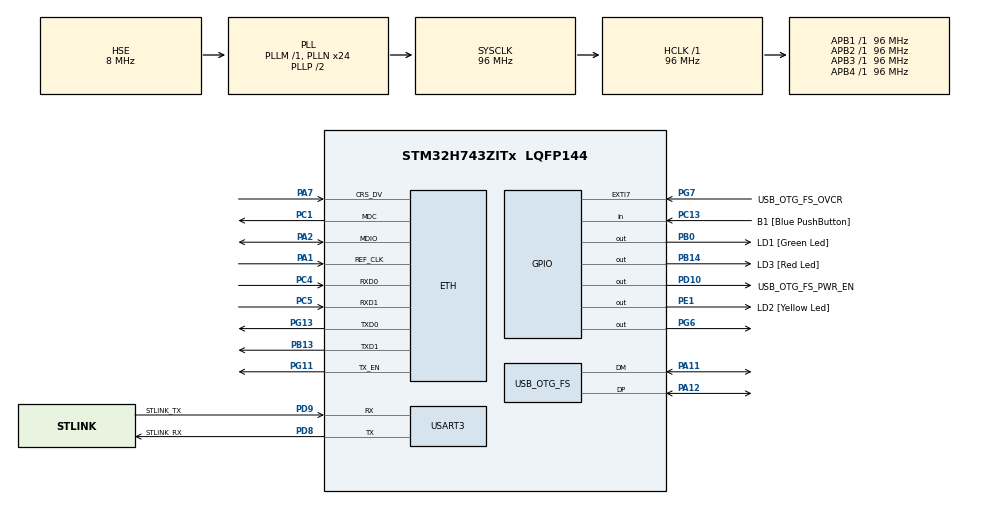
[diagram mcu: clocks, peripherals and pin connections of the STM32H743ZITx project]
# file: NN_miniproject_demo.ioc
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CORTEX_M7.CPU_DCache=Enabled
CORTEX_M7.CPU_ICache=Enabled
ETH.MediaInterface=HAL_ETH_RMII_MODE
Mcu.Family=STM32H7
Mcu.Name=STM32H743ZITx
Mcu.Package=LQFP144
NVIC.OTG_FS_IRQn=true\:0\:0\:false\:false\:true\:true\:true
NVIC.PriorityGroup=NVIC_PRIORITYGROUP_4
PA1.Mode=RMII
PA1.Signal=ETH_REF_CLK
PA11.GPIO_Speed=GPIO_SPEED_FREQ_VERY_HIGH
PA11.Mode=Host_Only
PA11.Signal=USB_OTG_FS_DM
PA12.GPIO_Speed=GPIO_SPEED_FREQ_VERY_HIGH
PA12.Mode=Host_Only
PA12.Signal=USB_OTG_FS_DP
PA2.Mode=RMII
PA2.Signal=ETH_MDIO
PA7.Mode=RMII
PA7.Signal=ETH_CRS_DV
PA8.Signal=USB_OTG_FS_SOF
PA9.Signal=USB_OTG_FS_VBUS
PB0.GPIO_Label=LD1 [Green Led]
PB0.Signal=GPIO_Output
PB13.Mode=RMII
PB13.Signal=ETH_TXD1
PB14.GPIO_Label=LD3 [Red Led]
PB14.Signal=GPIO_Output
PC1.Mode=RMII
PC1.Signal=ETH_MDC
PC13.GPIO_Label=B1 [Blue PushButton]
PC13.Signal=GPIO_Input
PC14-OSC32_IN\ (OSC32_IN).Mode=LSE-External-Oscillator
PC14-OSC32_IN\ (OSC32_IN).Signal=RCC_OSC32_IN
PC15-OSC32_OUT\ (OSC32_OUT).Mode=LSE-External-Oscillator
PC15-OSC32_OUT\ (OSC32_OUT).Signal=RCC_OSC32_OUT
PC4.Mode=RMII
PC4.Signal=ETH_RXD0
PC5.Mode=RMII
PC5.Signal=ETH_RXD1
PD10.GPIO_Label=USB_OTG_FS_PWR_EN
PD10.Signal=GPIO_Output
PD8.GPIO_Label=STLINK_RX
PD8.Mode=Asynchronous
PD8.Signal=USART3_TX
PD9.GPIO_Label=STLINK_TX
PD9.Mode=Asynchronous
PD9.Signal=USART3_RX
PE1.GPIO_Label=LD2 [Yellow Led]
PE1.Signal=GPIO_Output
PG11.Mode=RMII
PG11.Signal=ETH_TX_EN
PG13.Mode=RMII
PG13.Signal=ETH_TXD0
PG6.Signal=GPIO_Output
PG7.GPIO_Label=USB_OTG_FS_OVCR
PG7.Signal=GPXTI7
PH0-OSC_IN\ (PH0).Mode=HSE-External-Clock-Source
PH0-OSC_IN\ (PH0).Signal=RCC_OSC_IN
PH1-OSC_OUT\ (PH1).Signal=RCC_OSC_OUT
ProjectManager.HeapSize=0x4000
ProjectManager.StackSize=0x4000
ProjectManager.TargetToolchain=STM32CubeIDE
RCC.ADCFreq_Value=16125000
RCC.APB1Freq_Value=96000000
RCC.APB2Freq_Value=96000000
RCC.APB3Freq_Value=96000000
RCC.APB4Freq_Value=96000000
RCC.CortexFreq_Value=96000000
RCC.DIVM1=1
RCC.DIVN1=24
RCC.DIVQ1=4
RCC.HCLKFreq_Value=96000000
RCC.HSE_VALUE=8000000
RCC.PLLFRACN=0
RCC.SYSCLKFreq_VALUE=96000000
RCC.SYSCLKSource=RCC_SYSCLKSOURCE_PLLCLK
RCC.USBFreq_Value=48000000
STMicroelectronics.X-CUBE-AI.5.2.0.ActivationBufferSizeList=136,1464960
STMicroelectronics.X-CUBE-AI.5.2.0.HeapSize=0x4000
STMicroelectronics.X-CUBE-AI.5.2.0.InternalRamActivationBufferMaxSize=AI_NETWORK_7_DATA_ACTIVATIONS_SIZE
STMicroelectronics.X-CUBE-AI.5.2.0.LatestDirectoryUsed-79158952da0bd2d1f63a705455d0a82f03b922d819930969006c187b575319ec=D\:\\Desktop\\EE113DB\\H7 Code
STMicroelectronics.X-CUBE-AI.5.2.0.LatestDirectoryUsed-7d13c56af21f2549491f0dfde9505e7fa9c9f8013ecf3f9c0d253335a3d5dc23=D\:\\Desktop\\EE113DB\\Custom Model
STMicroelectronics.X-CUBE-AI.5.2.0.MaximumNumberOfInputLayer=1
STMicroelectronics.X-CUBE-AI.5.2.0.MaximumNumberOfOutputLayer=1
STMicroelectronics.X-CUBE-AI.5.2.0.MaximumSizeOfInputLayer=AI_NETWORK_7_IN_1_SIZE_BYTES
STMicroelectronics.X-CUBE-AI.5.2.0.MaximumSizeOfOutputLayer=AI_NETWORK_7_OUT_1_SIZE_BYTES
STMicroelectronics.X-CUBE-AI.5.2.0.ModelActualCompression-79158952da0bd2d1f63a705455d0a82f03b922d819930969006c187b575319ec=0.0
STMicroelectronics.X-CUBE-AI.5.2.0.ModelActualCompression-7d13c56af21f2549491f0dfde9505e7fa9c9f8013ecf3f9c0d253335a3d5dc23=0.0
STMicroelectronics.X-CUBE-AI.5.2.0.ModelCompression-79158952da0bd2d1f63a705455d0a82f03b922d819930969006c187b575319ec=1
STMicroelectronics.X-CUBE-AI.5.2.0.ModelCompression-7d13c56af21f2549491f0dfde9505e7fa9c9f8013ecf3f9c0d253335a3d5dc23=1
STMicroelectronics.X-CUBE-AI.5.2.0.ModelFlashOccupation-79158952da0bd2d1f63a705455d0a82f03b922d819930969006c187b575319ec=1284
STMicroelectronics.X-CUBE-AI.5.2.0.ModelFlashOccupation-7d13c56af21f2549491f0dfde9505e7fa9c9f8013ecf3f9c0d253335a3d5dc23=315128
STMicroelectronics.X-CUBE-AI.5.2.0.ModelHashList=79158952da0bd2d1f63a705455d0a82f03b922d819930969006c187b575319ec;7d13c56af21f2549491f0dfde9505e7fa9c9f8013ecf3f9c0d253335a3d5dc23
STMicroelectronics.X-CUBE-AI.5.2.0.ModelKind-79158952da0bd2d1f63a705455d0a82f03b922d819930969006c187b575319ec=TFLITE
STMicroelectronics.X-CUBE-AI.5.2.0.ModelKind-7d13c56af21f2549491f0dfde9505e7fa9c9f8013ecf3f9c0d253335a3d5dc23=KERAS
STMicroelectronics.X-CUBE-AI.5.2.0.ModelMacc-79158952da0bd2d1f63a705455d0a82f03b922d819930969006c187b575319ec=320
STMicroelectronics.X-CUBE-AI.5.2.0.ModelMacc-7d13c56af21f2549491f0dfde9505e7fa9c9f8013ecf3f9c0d253335a3d5dc23=39062430
STMicroelectronics.X-CUBE-AI.5.2.0.ModelName-79158952da0bd2d1f63a705455d0a82f03b922d819930969006c187b575319ec=sine_model
STMicroelectronics.X-CUBE-AI.5.2.0.ModelName-7d13c56af21f2549491f0dfde9505e7fa9c9f8013ecf3f9c0d253335a3d5dc23=network_7
STMicroelectronics.X-CUBE-AI.5.2.0.ModelNameList=sine_model,network_7
STMicroelectronics.X-CUBE-AI.5.2.0.ModelRamOccupation-79158952da0bd2d1f63a705455d0a82f03b922d819930969006c187b575319ec=136
STMicroelectronics.X-CUBE-AI.5.2.0.ModelRamOccupation-7d13c56af21f2549491f0dfde9505e7fa9c9f8013ecf3f9c0d253335a3d5dc23=1464960
STMicroelectronics.X-CUBE-AI.5.2.0.ModelStructureFile-79158952da0bd2d1f63a705455d0a82f03b922d819930969006c187b575319ec=D\:\\Desktop\\EE113DB\\H7 Code\\sine_model.tflite
STMicroelectronics.X-CUBE-AI.5.2.0.ModelStructureFile-7d13c56af21f2549491f0dfde9505e7fa9c9f8013ecf3f9c0d253335a3d5dc23=D\:\\Desktop\\EE113DB\\Custom Model\\yolo-fastestCAR200.h5
STMicroelectronics.X-CUBE-AI.5.2.0.ModelType-79158952da0bd2d1f63a705455d0a82f03b922d819930969006c187b575319ec=Saved model
STMicroelectronics.X-CUBE-AI.5.2.0.ModelType-7d13c56af21f2549491f0dfde9505e7fa9c9f8013ecf3f9c0d253335a3d5dc23=Saved model
STMicroelectronics.X-CUBE-AI.5.2.0.StackSize=0x4000
STMicroelectronics.X-CUBE-AI.5.2.0.WorkingBufferStartAddrList=0xFFFFFFFF,0xFFFFFFFF
STMicroelectronics.X-CUBE-AI.5.2.0.XAaCUBEAaAICcArtificialOoIntelligenceJjCore=true
TIM16.Prescaler=96-1
USART3.VirtualMode-Asynchronous=VM_ASYNC
USB_HOST.BSP.number=1
USB_HOST.USBH_HandleTypeDef-MSC_FS=hUsbHostFS
USB_HOST.VirtualModeFS=Msc
USB_HOST0.BSP.STBoard=false
USB_HOST0.BSP.api=Unknown
USB_HOST0.BSP.i2caddr=0
USB_HOST0.BSP.instance=PG6
USB_HOST0.BSP.ip=GPIO
USB_HOST0.BSP.mode=Output
USB_HOST0.BSP.name=Drive_VBUS_FS
USB_HOST0.BSP.solution=PG6
USB_OTG_FS.VirtualMode=Host_Only
USB_OTG_FS.phy_itface=HCD_PHY_EMBEDDED
VP_CRC_VS_CRC.Mode=CRC_Activate
VP_FATFS_VS_USB.Mode=USB
VP_STMicroelectronics.X-CUBE-AI_VS_ArtificialOoIntelligenceJjXAaCUBEAaAI_5.2.0.Mode=ArtificialOoIntelligenceJjXAaCUBEAaAI
VP_TIM16_VS_ClockSourceINT.Mode=Enable_Timer
VP_USB_HOST_VS_USB_HOST_MSC_FS.Mode=MSC_FS
board=NUCLEO-H743ZI2

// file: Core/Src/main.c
/* USER CODE BEGIN Header */
/**
  ******************************************************************************
  * @file           : main.c
  * @brief          : Main program body
  ******************************************************************************
  * @attention
  *
  * <h2><center>&copy; Copyright (c) 2020 STMicroelectronics.
  * All rights reserved.</center></h2>
  *
  * This software component is licensed by ST under BSD 3-Clause license,
  * the "License"; You may not use this file except in compliance with the
  * License. You may obtain a copy of the License at:
  *                        opensource.org/licenses/BSD-3-Clause
  *
  ******************************************************************************
  */
/* USER CODE END Header */
#include "main.h"
#include "string.h"
#include "fatfs.h"
#include "usb_host.h"

/* USER CODE BEGIN Includes */
#include <stdio.h>

#include "ai_datatypes_defines.h"
#include "ai_platform.h"
#include "sine_model.h"
#include "sine_model_data.h"
/* USER CODE END Includes */

#if defined ( __ICCARM__ ) /*!< IAR Compiler */

#pragma location=0x30040000
ETH_DMADescTypeDef  DMARxDscrTab[ETH_RX_DESC_CNT]; /* Ethernet Rx DMA Descriptors */
#pragma location=0x30040060
ETH_DMADescTypeDef  DMATxDscrTab[ETH_TX_DESC_CNT]; /* Ethernet Tx DMA Descriptors */
#pragma location=0x30040200
uint8_t Rx_Buff[ETH_RX_DESC_CNT][ETH_MAX_PACKET_SIZE]; /* Ethernet Receive Buffers */

#elif defined ( __CC_ARM )  /* MDK ARM Compiler */

__attribute__((at(0x30040000))) ETH_DMADescTypeDef  DMARxDscrTab[ETH_RX_DESC_CNT]; /* Ethernet Rx DMA Descriptors */
__attribute__((at(0x30040060))) ETH_DMADescTypeDef  DMATxDscrTab[ETH_TX_DESC_CNT]; /* Ethernet Tx DMA Descriptors */
__attribute__((at(0x30040200))) uint8_t Rx_Buff[ETH_RX_DESC_CNT][ETH_MAX_PACKET_SIZE]; /* Ethernet Receive Buffer */

#elif defined ( __GNUC__ ) /* GNU Compiler */

ETH_DMADescTypeDef DMARxDscrTab[ETH_RX_DESC_CNT] __attribute__((section(".RxDecripSection"))); /* Ethernet Rx DMA Descriptors */
ETH_DMADescTypeDef DMATxDscrTab[ETH_TX_DESC_CNT] __attribute__((section(".TxDecripSection")));   /* Ethernet Tx DMA Descriptors */
uint8_t Rx_Buff[ETH_RX_DESC_CNT][ETH_MAX_PACKET_SIZE] __attribute__((section(".RxArraySection"))); /* Ethernet Receive Buffers */

#endif

ETH_TxPacketConfig TxConfig;

CRC_HandleTypeDef hcrc;

ETH_HandleTypeDef heth;

TIM_HandleTypeDef htim16;

UART_HandleTypeDef huart3;

void SystemClock_Config(void);
static void MX_GPIO_Init(void);
static void MX_ETH_Init(void);
static void MX_USART3_UART_Init(void);
static void MX_CRC_Init(void);
static void MX_TIM16_Init(void);
void MX_USB_HOST_Process(void);

/* USER CODE BEGIN 0 */
int file_ready = 0;
extern uint8_t rtext[128];
extern uint8_t name[20];

// TODO - As per Community Suggestion, Statically allocated activations, input data, and output data

// float * out_img;
/* USER CODE END 0 */

int main(void)
{
  /* USER CODE BEGIN 1 */
  char buf[50];
  int buf_len = 0;
  ai_error ai_err;
  ai_i32 nbatch;
  uint32_t timestamp;
  float y_val;

  // Pointer to our model
  ai_handle sine_model = AI_HANDLE_NULL;

  // Chunk of memory used to hold intermediate values for neural network
  AI_ALIGNED(4) ai_u8 activations[AI_SINE_MODEL_DATA_ACTIVATIONS_SIZE];

  // Buffers used to store input and output tensors
  AI_ALIGNED(4) ai_i8 in_data[AI_SINE_MODEL_IN_1_SIZE_BYTES];
  AI_ALIGNED(4) ai_i8 out_data[AI_SINE_MODEL_OUT_1_SIZE_BYTES];

  // Initialize wrapper structs that hold pointers to data and info about the
  // data (tensor height, width, channels)
  ai_buffer ai_input[AI_SINE_MODEL_IN_NUM] = AI_SINE_MODEL_IN;
  ai_buffer ai_output[AI_SINE_MODEL_OUT_NUM] = AI_SINE_MODEL_OUT;

  // Set working memory and get weights/biases from model
  ai_network_params ai_params = {
	AI_SINE_MODEL_DATA_WEIGHTS(ai_sine_model_data_weights_get()),
	AI_SINE_MODEL_DATA_ACTIVATIONS(activations)
  };

  // Set pointers wrapper structs to our data buffers
  ai_input[0].n_batches = 1;
  ai_input[0].data = AI_HANDLE_PTR(in_data);
  ai_output[0].n_batches = 1;
  ai_output[0].data = AI_HANDLE_PTR(out_data);
  /* USER CODE END 1 */

  /* Enable I-Cache---------------------------------------------------------*/
  SCB_EnableICache();

  /* Enable D-Cache---------------------------------------------------------*/
  SCB_EnableDCache();

  /* MCU Configuration--------------------------------------------------------*/

  /* Reset of all peripherals, Initializes the Flash interface and the Systick. */
  HAL_Init();

  /* Configure the system clock */
  SystemClock_Config();

  /* Initialize all configured peripherals */
  MX_GPIO_Init();
  MX_ETH_Init();
  MX_USART3_UART_Init();
  MX_FATFS_Init();
  MX_USB_HOST_Init();
  MX_CRC_Init();
  MX_TIM16_Init();
  /* USER CODE BEGIN 2 */
  // Start timer/counter
  HAL_TIM_Base_Start(&htim16);

  // Greetings!
  buf_len = sprintf(buf, "\r\n\r\nSTM32 X-Cube-AI test\r\n");
  printf(buf);

  // Create instance of neural network
  ai_err = ai_sine_model_create(&sine_model, AI_SINE_MODEL_DATA_CONFIG);
  if (ai_err.type != AI_ERROR_NONE)
  {
    buf_len = sprintf(buf, "Error: could not create NN instance\r\n");
    printf(buf);
    while(1);
  }

  // Initialize neural network
  if (!ai_sine_model_init(sine_model, &ai_params))
  {
    buf_len = sprintf(buf, "Error: could not initialize NN\r\n");
    printf(buf);
    while(1);
  }

  /* USER CODE END 2 */

  /* Infinite loop */
  /* USER CODE BEGIN WHILE */
  int first_while_iter = 1;
  while (1)
  {
	if (first_while_iter)
	{
	  sprintf(buf, "Mounting USB...\r\n");
	  printf(buf);
	  while(1)
	  {
	    MX_USB_HOST_Process();
		sprintf(name,"num5.bmp");
	    file_ready = 0;
	    read_bmp(name);
	    if(file_ready == 1){
//			out_img = ProcessBmp(rtext);
		    break;
	    }

	  }
	  sprintf(buf, "USB Mounted Successfully\r\n");
	  printf(buf);
	  first_while_iter = 0;
	}

    sprintf(name,"b1.txt");
    float * b1 = read_txt(name, 2);
    printf("%.2f ", b1[0]);
    printf("%.2f\n", b1[1]);
    free(b1);

//    // Unmount the USB
//    if (f_mount(NULL,USBHPath,0) != FR_OK)
//    {
//  	  Error_Handler();
//    }

	// Fill input buffer (use test value)
	for (uint32_t i = 0; i < AI_SINE_MODEL_IN_1_SIZE; i++)
	{
	  ((ai_float *)in_data)[i] = (ai_float)2.0f;
	}

	// Get current timestamp
	timestamp = htim16.Instance->CNT;

	// Perform inference
	nbatch = ai_sine_model_run(sine_model, &ai_input[0], &ai_output[0]);
	if (nbatch != 1) {
	  buf_len = sprintf(buf, "Error: could not run inference\r\n");
	  printf(buf);
	}

	// Read output (predicted y) of neural network
	y_val = ((float *)out_data)[0];

	// Print output of neural network along with inference time (microseconds)
	buf_len = sprintf(buf,
					  "Output: %f | Duration: %lu\r\n",
					  y_val,
					  htim16.Instance->CNT - timestamp);
	printf(buf);

	// Wait before doing it again
	HAL_Delay(1000);
    /* USER CODE END WHILE */
    MX_USB_HOST_Process();

  }
}

void SystemClock_Config(void)
{
  RCC_OscInitTypeDef RCC_OscInitStruct = {0};
  RCC_ClkInitTypeDef RCC_ClkInitStruct = {0};
  RCC_PeriphCLKInitTypeDef PeriphClkInitStruct = {0};

  /** Supply configuration update enable
  */
  HAL_PWREx_ConfigSupply(PWR_LDO_SUPPLY);
  /** Configure the main internal regulator output voltage
  */
  __HAL_PWR_VOLTAGESCALING_CONFIG(PWR_REGULATOR_VOLTAGE_SCALE3);

  while(!__HAL_PWR_GET_FLAG(PWR_FLAG_VOSRDY)) {}
  /** Initializes the RCC Oscillators according to the specified parameters
  * in the RCC_OscInitTypeDef structure.
  */
  RCC_OscInitStruct.OscillatorType = RCC_OSCILLATORTYPE_HSE;
  RCC_OscInitStruct.HSEState = RCC_HSE_BYPASS;
  RCC_OscInitStruct.PLL.PLLState = RCC_PLL_ON;
  RCC_OscInitStruct.PLL.PLLSource = RCC_PLLSOURCE_HSE;
  RCC_OscInitStruct.PLL.PLLM = 1;
  RCC_OscInitStruct.PLL.PLLN = 24;
  RCC_OscInitStruct.PLL.PLLP = 2;
  RCC_OscInitStruct.PLL.PLLQ = 4;
  RCC_OscInitStruct.PLL.PLLR = 2;
  RCC_OscInitStruct.PLL.PLLRGE = RCC_PLL1VCIRANGE_3;
  RCC_OscInitStruct.PLL.PLLVCOSEL = RCC_PLL1VCOWIDE;
  RCC_OscInitStruct.PLL.PLLFRACN = 0;
  if (HAL_RCC_OscConfig(&RCC_OscInitStruct) != HAL_OK)
  {
    Error_Handler();
  }
  /** Initializes the CPU, AHB and APB buses clocks
  */
  RCC_ClkInitStruct.ClockType = RCC_CLOCKTYPE_HCLK|RCC_CLOCKTYPE_SYSCLK
                              |RCC_CLOCKTYPE_PCLK1|RCC_CLOCKTYPE_PCLK2
                              |RCC_CLOCKTYPE_D3PCLK1|RCC_CLOCKTYPE_D1PCLK1;
  RCC_ClkInitStruct.SYSCLKSource = RCC_SYSCLKSOURCE_PLLCLK;
  RCC_ClkInitStruct.SYSCLKDivider = RCC_SYSCLK_DIV1;
  RCC_ClkInitStruct.AHBCLKDivider = RCC_HCLK_DIV1;
  RCC_ClkInitStruct.APB3CLKDivider = RCC_APB3_DIV1;
  RCC_ClkInitStruct.APB1CLKDivider = RCC_APB1_DIV1;
  RCC_ClkInitStruct.APB2CLKDivider = RCC_APB2_DIV1;
  RCC_ClkInitStruct.APB4CLKDivider = RCC_APB4_DIV1;

  if (HAL_RCC_ClockConfig(&RCC_ClkInitStruct, FLASH_LATENCY_1) != HAL_OK)
  {
    Error_Handler();
  }
  PeriphClkInitStruct.PeriphClockSelection = RCC_PERIPHCLK_USART3|RCC_PERIPHCLK_USB;
  PeriphClkInitStruct.Usart234578ClockSelection = RCC_USART234578CLKSOURCE_D2PCLK1;
  PeriphClkInitStruct.UsbClockSelection = RCC_USBCLKSOURCE_PLL;
  if (HAL_RCCEx_PeriphCLKConfig(&PeriphClkInitStruct) != HAL_OK)
  {
    Error_Handler();
  }
  /** Enable USB Voltage detector
  */
  HAL_PWREx_EnableUSBVoltageDetector();
}

static void MX_CRC_Init(void)
{

  hcrc.Instance = CRC;
  hcrc.Init.DefaultPolynomialUse = DEFAULT_POLYNOMIAL_ENABLE;
  hcrc.Init.DefaultInitValueUse = DEFAULT_INIT_VALUE_ENABLE;
  hcrc.Init.InputDataInversionMode = CRC_INPUTDATA_INVERSION_NONE;
  hcrc.Init.OutputDataInversionMode = CRC_OUTPUTDATA_INVERSION_DISABLE;
  hcrc.InputDataFormat = CRC_INPUTDATA_FORMAT_BYTES;
  if (HAL_CRC_Init(&hcrc) != HAL_OK)
  {
    Error_Handler();
  }

}

static void MX_ETH_Init(void)
{

  heth.Instance = ETH;
  heth.Init.MACAddr[0] =   0x00;
  heth.Init.MACAddr[1] =   0x80;
  heth.Init.MACAddr[2] =   0xE1;
  heth.Init.MACAddr[3] =   0x00;
  heth.Init.MACAddr[4] =   0x00;
  heth.Init.MACAddr[5] =   0x00;
  heth.Init.MediaInterface = HAL_ETH_RMII_MODE;
  heth.Init.TxDesc = DMATxDscrTab;
  heth.Init.RxDesc = DMARxDscrTab;
  heth.Init.RxBuffLen = 1524;

  if (HAL_ETH_Init(&heth) != HAL_OK)
  {
    Error_Handler();
  }

  memset(&TxConfig, 0 , sizeof(ETH_TxPacketConfig));
  TxConfig.Attributes = ETH_TX_PACKETS_FEATURES_CSUM | ETH_TX_PACKETS_FEATURES_CRCPAD;
  TxConfig.ChecksumCtrl = ETH_CHECKSUM_IPHDR_PAYLOAD_INSERT_PHDR_CALC;
  TxConfig.CRCPadCtrl = ETH_CRC_PAD_INSERT;

}

static void MX_TIM16_Init(void)
{

  htim16.Instance = TIM16;
  htim16.Init.Prescaler = 96-1;
  htim16.Init.CounterMode = TIM_COUNTERMODE_UP;
  htim16.Init.Period = 65535;
  htim16.Init.ClockDivision = TIM_CLOCKDIVISION_DIV1;
  htim16.Init.RepetitionCounter = 0;
  htim16.Init.AutoReloadPreload = TIM_AUTORELOAD_PRELOAD_DISABLE;
  if (HAL_TIM_Base_Init(&htim16) != HAL_OK)
  {
    Error_Handler();
  }

}

static void MX_USART3_UART_Init(void)
{

  huart3.Instance = USART3;
  huart3.Init.BaudRate = 115200;
  huart3.Init.WordLength = UART_WORDLENGTH_8B;
  huart3.Init.StopBits = UART_STOPBITS_1;
  huart3.Init.Parity = UART_PARITY_NONE;
  huart3.Init.Mode = UART_MODE_TX_RX;
  huart3.Init.HwFlowCtl = UART_HWCONTROL_NONE;
  huart3.Init.OverSampling = UART_OVERSAMPLING_16;
  huart3.Init.OneBitSampling = UART_ONE_BIT_SAMPLE_DISABLE;
  huart3.Init.ClockPrescaler = UART_PRESCALER_DIV1;
  huart3.AdvancedInit.AdvFeatureInit = UART_ADVFEATURE_NO_INIT;
  if (HAL_UART_Init(&huart3) != HAL_OK)
  {
    Error_Handler();
  }
  if (HAL_UARTEx_SetTxFifoThreshold(&huart3, UART_TXFIFO_THRESHOLD_1_8) != HAL_OK)
  {
    Error_Handler();
  }
  if (HAL_UARTEx_SetRxFifoThreshold(&huart3, UART_RXFIFO_THRESHOLD_1_8) != HAL_OK)
  {
    Error_Handler();
  }
  if (HAL_UARTEx_DisableFifoMode(&huart3) != HAL_OK)
  {
    Error_Handler();
  }

}

static void MX_GPIO_Init(void)
{
  GPIO_InitTypeDef GPIO_InitStruct = {0};

  /* GPIO Ports Clock Enable */
  __HAL_RCC_GPIOC_CLK_ENABLE();
  __HAL_RCC_GPIOH_CLK_ENABLE();
  __HAL_RCC_GPIOA_CLK_ENABLE();
  __HAL_RCC_GPIOB_CLK_ENABLE();
  __HAL_RCC_GPIOD_CLK_ENABLE();
  __HAL_RCC_GPIOG_CLK_ENABLE();
  __HAL_RCC_GPIOE_CLK_ENABLE();

  /*Configure GPIO pin Output Level */
  HAL_GPIO_WritePin(GPIOB, LD1_Pin|LD3_Pin, GPIO_PIN_RESET);

  /*Configure GPIO pin Output Level */
  HAL_GPIO_WritePin(USB_OTG_FS_PWR_EN_GPIO_Port, USB_OTG_FS_PWR_EN_Pin, GPIO_PIN_RESET);

  /*Configure GPIO pin Output Level */
  HAL_GPIO_WritePin(GPIOG, GPIO_PIN_6, GPIO_PIN_RESET);

  /*Configure GPIO pin Output Level */
  HAL_GPIO_WritePin(LD2_GPIO_Port, LD2_Pin, GPIO_PIN_RESET);

  /*Configure GPIO pin : B1_Pin */
  GPIO_InitStruct.Pin = B1_Pin;
  GPIO_InitStruct.Mode = GPIO_MODE_INPUT;
  GPIO_InitStruct.Pull = GPIO_NOPULL;
  HAL_GPIO_Init(B1_GPIO_Port, &GPIO_InitStruct);

  /*Configure GPIO pins : LD1_Pin LD3_Pin */
  GPIO_InitStruct.Pin = LD1_Pin|LD3_Pin;
  GPIO_InitStruct.Mode = GPIO_MODE_OUTPUT_PP;
  GPIO_InitStruct.Pull = GPIO_NOPULL;
  GPIO_InitStruct.Speed = GPIO_SPEED_FREQ_LOW;
  HAL_GPIO_Init(GPIOB, &GPIO_InitStruct);

  /*Configure GPIO pin : USB_OTG_FS_PWR_EN_Pin */
  GPIO_InitStruct.Pin = USB_OTG_FS_PWR_EN_Pin;
  GPIO_InitStruct.Mode = GPIO_MODE_OUTPUT_PP;
  GPIO_InitStruct.Pull = GPIO_NOPULL;
  GPIO_InitStruct.Speed = GPIO_SPEED_FREQ_LOW;
  HAL_GPIO_Init(USB_OTG_FS_PWR_EN_GPIO_Port, &GPIO_InitStruct);

  /*Configure GPIO pin : PG6 */
  GPIO_InitStruct.Pin = GPIO_PIN_6;
  GPIO_InitStruct.Mode = GPIO_MODE_OUTPUT_PP;
  GPIO_InitStruct.Pull = GPIO_NOPULL;
  GPIO_InitStruct.Speed = GPIO_SPEED_FREQ_LOW;
  HAL_GPIO_Init(GPIOG, &GPIO_InitStruct);

  /*Configure GPIO pin : USB_OTG_FS_OVCR_Pin */
  GPIO_InitStruct.Pin = USB_OTG_FS_OVCR_Pin;
  GPIO_InitStruct.Mode = GPIO_MODE_IT_RISING;
  GPIO_InitStruct.Pull = GPIO_NOPULL;
  HAL_GPIO_Init(USB_OTG_FS_OVCR_GPIO_Port, &GPIO_InitStruct);

  /*Configure GPIO pin : LD2_Pin */
  GPIO_InitStruct.Pin = LD2_Pin;
  GPIO_InitStruct.Mode = GPIO_MODE_OUTPUT_PP;
  GPIO_InitStruct.Pull = GPIO_NOPULL;
  GPIO_InitStruct.Speed = GPIO_SPEED_FREQ_LOW;
  HAL_GPIO_Init(LD2_GPIO_Port, &GPIO_InitStruct);

}

/* USER CODE BEGIN 4 */
int _write(int file, char *ptr, int len)
{
  /* Implement your write code here, this is used by puts and printf for example */
  int i=0;
  for(i=0 ; i<len ; i++)
    ITM_SendChar((*ptr++));
  return len;
}
/* USER CODE END 4 */

void Error_Handler(void)
{
  /* USER CODE BEGIN Error_Handler_Debug */
  /* User can add his own implementation to report the HAL error return state */
  HAL_GPIO_WritePin(GPIOB, LD3_Pin, GPIO_PIN_SET);
  /* USER CODE END Error_Handler_Debug */
}

/************************ (C) COPYRIGHT STMicroelectronics *****END OF FILE****/
